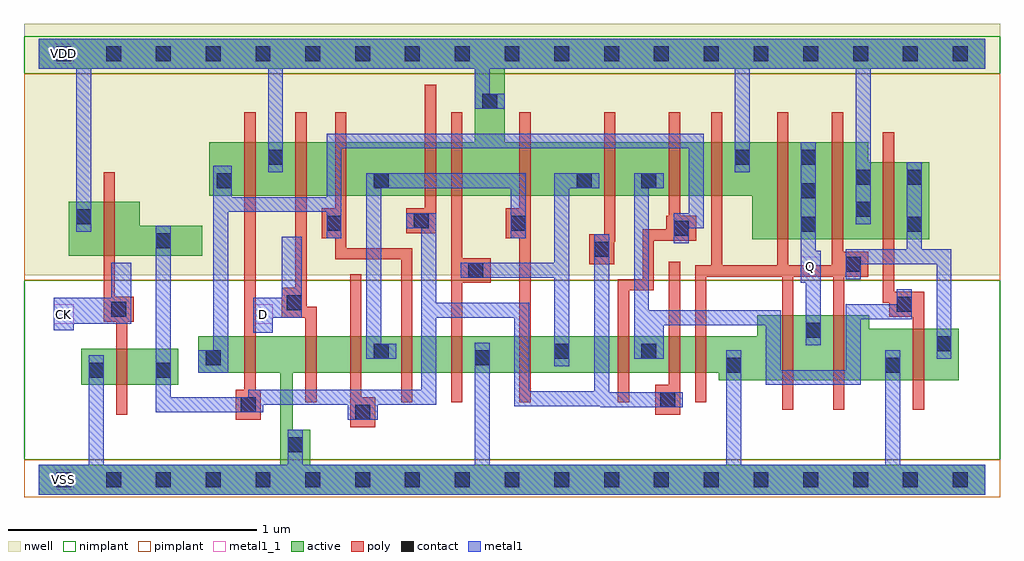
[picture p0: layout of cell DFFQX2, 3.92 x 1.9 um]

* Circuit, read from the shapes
.subckt DFFQX2 CK D Q VDD VSS
M1 n1 CK VSS VSS nfet w=0.145u l=0.045u
M2 VSS n1 n2 VSS nfet w=0.145u l=0.045u
M3 n3 D VSS VSS nfet w=0.145u l=0.045u
M4 n4 n1 n3 VSS nfet w=0.145u l=0.045u
M5 n5 n2 n4 VSS nfet w=0.145u l=0.045u
M6 VSS n6 n5 VSS nfet w=0.145u l=0.045u
M7 n6 n4 VSS VSS nfet w=0.145u l=0.045u
M8 n7 n2 n6 VSS nfet w=0.145u l=0.045u
M9 n8 n1 n7 VSS nfet w=0.145u l=0.045u
M10 VSS n9 n8 VSS nfet w=0.145u l=0.045u
M11 Q n9 VSS VSS nfet w=0.26u l=0.045u m=2
M12 n9 n7 VSS VSS nfet w=0.205u l=0.045u
M13 n1 CK VDD VDD pfet w=0.215u l=0.045u
M14 VDD n1 n2 VDD pfet w=0.215u l=0.045u
M15 n10 D VDD VDD pfet w=0.215u l=0.045u
M16 n4 n2 n10 VDD pfet w=0.215u l=0.045u
M17 n11 n1 n4 VDD pfet w=0.215u l=0.045u
M18 VDD n6 n11 VDD pfet w=0.215u l=0.045u
M19 n6 n4 VDD VDD pfet w=0.215u l=0.045u
M20 n7 n1 n6 VDD pfet w=0.215u l=0.045u
M21 n12 n2 n7 VDD pfet w=0.215u l=0.045u
M22 VDD n9 n12 VDD pfet w=0.215u l=0.045u
M23 Q n9 VDD VDD pfet w=0.39u l=0.045u m=2
M24 n9 n7 VDD VDD pfet w=0.31u l=0.045u
.ends

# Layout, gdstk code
import gdstk
lib = gdstk.Library(unit=1e-6, precision=5e-10)
def R(c, l, rs):  # rectangles x0, y0, x1, y1
    for r in rs: c.add(gdstk.rectangle(r[:2], r[2:], *l))
def A(c, l, x, y, w, h, nx, ny, dx, dy):  # array of equal rectangles
    R(c, l, [(x+i*dx, y+j*dy, x+i*dx+w, y+j*dy+h) for i in range(nx) for j in range(ny)])
def P(c, l, *ps):  # polygons
    for p in ps: c.add(gdstk.Polygon(p, *l))
active = (1, 0)
nwell = (2, 0)
poly = (3, 0)
nimplant = (4, 0)
pimplant = (5, 0)
contact = (6, 0)
metal1 = (7, 0)
metal1_1 = (7, 1)

dffqx2 = lib.new_cell('DFFQX2')
R(dffqx2, active, [(0.17,0.38,0.56,0.525)])
P(dffqx2, active, [(0,1.77),(3.8,1.77),(3.8,1.65),(1.87,1.65),(1.87,1.355),(3.33,1.355),(3.33,1.275),(3.575,1.275),(3.575,0.965),(2.865,0.965),(2.865,1.14),(0.685,1.14),(0.685,1.355),(1.75,1.355),(1.75,1.65),(0,1.65)],
  [(0.12,1.115),(0.405,1.115),(0.405,1.02),(0.655,1.02),(0.655,0.9),(0.12,0.9)],
  [(2.885,0.66),(3.335,0.66),(3.335,0.605),(3.695,0.605),(3.695,0.4),(2.73,0.4),(2.73,0.43),(1.02,0.43),(1.02,0.2),(1.09,0.2),(1.09,0.06),(3.8,0.06),(3.8,-0.06),(0,-0.06),(0,0.06),(0.97,0.06),(0.97,0.43),(0.64,0.43),(0.64,0.575),(2.885,0.575)])
R(dffqx2, nwell, [(-0.06,0.82,3.86,1.83)])
P(dffqx2, poly, [(0.825,1.475),(0.87,1.475),(0.87,0.36),(0.89,0.36),(0.89,0.24),(0.79,0.24),(0.79,0.36),(0.825,0.36)],
  [(1.03,1.475),(1.075,1.475),(1.075,0.695),(1.115,0.695),(1.115,0.31),(1.07,0.31),(1.07,0.65),(0.975,0.65),(0.975,0.77),(1.03,0.77)],
  [(1.19,1.475),(1.235,1.475),(1.235,0.93),(1.5,0.93),(1.5,0.31),(1.455,0.31),(1.455,0.885),(1.19,0.885),(1.19,0.97),(1.135,0.97),(1.135,1.09),(1.19,1.09)],
  [(1.55,1.585),(1.595,1.585),(1.595,0.99),(1.475,0.99),(1.475,1.09),(1.55,1.09)],
  [(1.655,1.475),(1.7,1.475),(1.7,0.89),(1.815,0.89),(1.815,0.79),(1.7,0.79),(1.7,0.31),(1.655,0.31)],
  [(0.26,1.235),(0.305,1.235),(0.305,0.735),(0.38,0.735),(0.38,0.635),(0.355,0.635),(0.355,0.26),(0.31,0.26),(0.31,0.635),(0.26,0.635)],
  [(1.93,1.475),(1.975,1.475),(1.975,0.31),(1.93,0.31),(1.93,0.97),(1.875,0.97),(1.875,1.09),(1.93,1.09)],
  [(2.27,1.475),(2.315,1.475),(2.315,0.955),(2.31,0.955),(2.31,0.865),(2.21,0.865),(2.21,0.985),(2.27,0.985)],
  [(2.53,1.475),(2.575,1.475),(2.575,1.06),(2.64,1.06),(2.64,0.96),(2.47,0.96),(2.47,0.76),(2.37,0.76),(2.37,0.31),(2.325,0.31),(2.325,0.805),(2.425,0.805),(2.425,1.005),(2.52,1.005),(2.52,1.06),(2.53,1.06)],
  [(2.7,1.475),(2.745,1.475),(2.745,0.86),(2.965,0.86),(2.965,1.475),(3.01,1.475),(3.01,0.86),(3.185,0.86),(3.185,1.475),(3.23,1.475),(3.23,0.915),(3.33,0.915),(3.33,0.815),(3.235,0.815),(3.235,0.28),(3.19,0.28),(3.19,0.815),(3.03,0.815),(3.03,0.28),(2.985,0.28),(2.985,0.815),(2.68,0.815),(2.68,0.31),(2.635,0.31),(2.635,0.86),(2.7,0.86)],
  [(3.39,1.395),(3.435,1.395),(3.435,0.755),(3.555,0.755),(3.555,0.28),(3.51,0.28),(3.51,0.655),(3.415,0.655),(3.415,0.71),(3.39,0.71)],
  [(1.25,0.825),(1.295,0.825),(1.295,0.33),(1.35,0.33),(1.35,0.21),(1.25,0.21)],
  [(2.53,0.875),(2.575,0.875),(2.575,0.26),(2.475,0.26),(2.475,0.38),(2.53,0.38)])
R(dffqx2, nimplant, [(-0.06,0.08,3.86,0.8), (-0.06,1.63,3.86,1.78)])
R(dffqx2, pimplant, [(-0.06,-0.07,3.86,0.08), (-0.06,0.8,3.86,1.63)])
A(dffqx2, contact, 0.07, -0.03, 0.06, 0.06, 19, 2, 0.2, 1.71)
A(dffqx2, contact, 3.06, 0.995, 0.06, 0.06, 1, 3, 0, 0.135)
R(dffqx2, contact, [(1,0.11,1.06,0.17), (1.27,0.24,1.33,0.3), (0.81,0.27,0.87,0.33), (2.495,0.29,2.555,0.35), (0.2,0.41,0.26,0.47), (0.47,0.41,0.53,0.47), (2.76,0.43,2.82,0.49), (3.4,0.43,3.46,0.49), (0.67,0.46,0.73,0.52), (1.75,0.46,1.81,0.52), (1.345,0.485,1.405,0.545), (2.07,0.485,2.13,0.545), (2.42,0.485,2.48,0.545), (3.605,0.515,3.665,0.575), (3.08,0.57,3.14,0.63), (0.29,0.655,0.35,0.715), (3.445,0.675,3.505,0.735), (0.995,0.68,1.055,0.74), (1.725,0.81,1.785,0.87), (3.24,0.835,3.3,0.895), (2.23,0.895,2.29,0.955), (0.47,0.93,0.53,0.99), (2.55,0.98,2.61,1.04), (3.485,0.995,3.545,1.055), (1.155,1,1.215,1.06), (1.895,1,1.955,1.06), (1.505,1.01,1.565,1.07), (0.15,1.025,0.21,1.085), (3.28,1.055,3.34,1.115), (0.715,1.17,0.775,1.23), (1.345,1.17,1.405,1.23), (2.16,1.17,2.22,1.23), (2.42,1.17,2.48,1.23), (3.28,1.185,3.34,1.245), (3.485,1.185,3.545,1.245), (0.92,1.265,0.98,1.325), (2.795,1.265,2.855,1.325), (1.78,1.49,1.84,1.55)])
P(dffqx2, metal1, [(0,1.77),(3.8,1.77),(3.8,1.65),(3.34,1.65),(3.34,1.025),(3.28,1.025),(3.28,1.65),(2.855,1.65),(2.855,1.235),(2.795,1.235),(2.795,1.65),(1.81,1.65),(1.81,1.55),(1.87,1.55),(1.87,1.49),(1.75,1.49),(1.75,1.65),(0.98,1.65),(0.98,1.235),(0.92,1.235),(0.92,1.65),(0.21,1.65),(0.21,0.995),(0.15,0.995),(0.15,1.65),(0,1.65)],
  [(1.155,1.39),(2.67,1.39),(2.67,1.01),(2.61,1.01),(2.61,0.95),(2.55,0.95),(2.55,1.07),(2.61,1.07),(2.61,1.33),(1.215,1.33),(1.215,0.97),(1.155,0.97),(1.155,1.075),(0.76,1.075),(0.76,0.43),(0.64,0.43),(0.64,0.52),(0.7,0.52),(0.7,1.26),(0.775,1.26),(0.775,1.135),(1.155,1.135)],
  [(0.47,1.02),(0.53,1.02),(0.53,0.33),(0.84,0.33),(0.84,0.36),(1.535,0.36),(1.535,1.01),(1.475,1.01),(1.475,1.07),(1.595,1.07),(1.595,0.71),(1.97,0.71),(1.97,0.355),(2.23,0.355),(2.23,0.985),(2.29,0.985),(2.29,0.35),(2.585,0.35),(2.585,0.29),(2.255,0.29),(2.255,0.295),(1.91,0.295),(1.91,0.65),(1.595,0.65),(1.595,0.3),(1.36,0.3),(1.36,0.24),(1.24,0.24),(1.24,0.3),(0.9,0.3),(0.9,0.27),(0.47,0.27)],
  [(0.29,0.87),(0.37,0.87),(0.37,0.625),(0.14,0.625),(0.14,0.6),(0.06,0.6),(0.06,0.73),(0.29,0.73)],
  [(0.2,0.5),(0.26,0.5),(0.26,0.06),(1,0.06),(1,0.2),(1.06,0.2),(1.06,0.06),(1.75,0.06),(1.75,0.55),(1.81,0.55),(1.81,0.06),(2.76,0.06),(2.76,0.52),(2.82,0.52),(2.82,0.06),(3.4,0.06),(3.4,0.52),(3.46,0.52),(3.46,0.06),(3.8,0.06),(3.8,-0.06),(0,-0.06),(0,0.06),(0.2,0.06)],
  [(0.975,0.975),(1.055,0.975),(1.055,0.65),(0.94,0.65),(0.94,0.59),(0.86,0.59),(0.86,0.73),(0.975,0.73)],
  [(1.315,1.23),(1.955,1.23),(1.955,0.97),(1.895,0.97),(1.895,1.17),(1.375,1.17),(1.375,0.545),(1.435,0.545),(1.435,0.485),(1.315,0.485)],
  [(2.07,1.23),(2.25,1.23),(2.25,1.17),(2.13,1.17),(2.13,0.455),(2.07,0.455),(2.07,0.81),(1.695,0.81),(1.695,0.87),(2.07,0.87)],
  [(2.39,1.23),(2.51,1.23),(2.51,1.17),(2.45,1.17),(2.45,0.68),(2.98,0.68),(2.98,0.44),(3.24,0.44),(3.24,0.705),(3.445,0.705),(3.445,0.765),(3.505,0.765),(3.505,0.645),(3.3,0.645),(3.3,0.38),(2.92,0.38),(2.92,0.62),(2.51,0.62),(2.51,0.485),(2.39,0.485)],
  [(3.06,1.355),(3.12,1.355),(3.12,0.92),(3.14,0.92),(3.14,0.54),(3.08,0.54),(3.08,0.79),(3.06,0.79)],
  [(3.485,1.275),(3.545,1.275),(3.545,0.925),(3.665,0.925),(3.665,0.485),(3.605,0.485),(3.605,0.865),(3.3,0.865),(3.3,0.805),(3.24,0.805),(3.24,0.925),(3.485,0.925)])
R(dffqx2, metal1_1, [(0.06,-0.04,0.14,0.04), (0.06,0.625,0.14,0.705), (0.86,0.625,0.94,0.705), (3.06,0.815,3.14,0.895), (0.06,1.67,0.14,1.75)])
dffqx2.add(gdstk.Label('Q', (3.1,0.855), layer=7, texttype=1))
dffqx2.add(gdstk.Label('D', (0.9,0.665), layer=7, texttype=1))
dffqx2.add(gdstk.Label('CK', (0.1,0.665), layer=7, texttype=1))
dffqx2.add(gdstk.Label('VDD', (0.1,1.71), layer=7, texttype=1))
dffqx2.add(gdstk.Label('VSS', (0.1,0), layer=7, texttype=1))
dffqx2.add(gdstk.Label('DFFQX2', (0,0), layer=63, texttype=0))

lib.write_gds('DFFQX2.gds')
